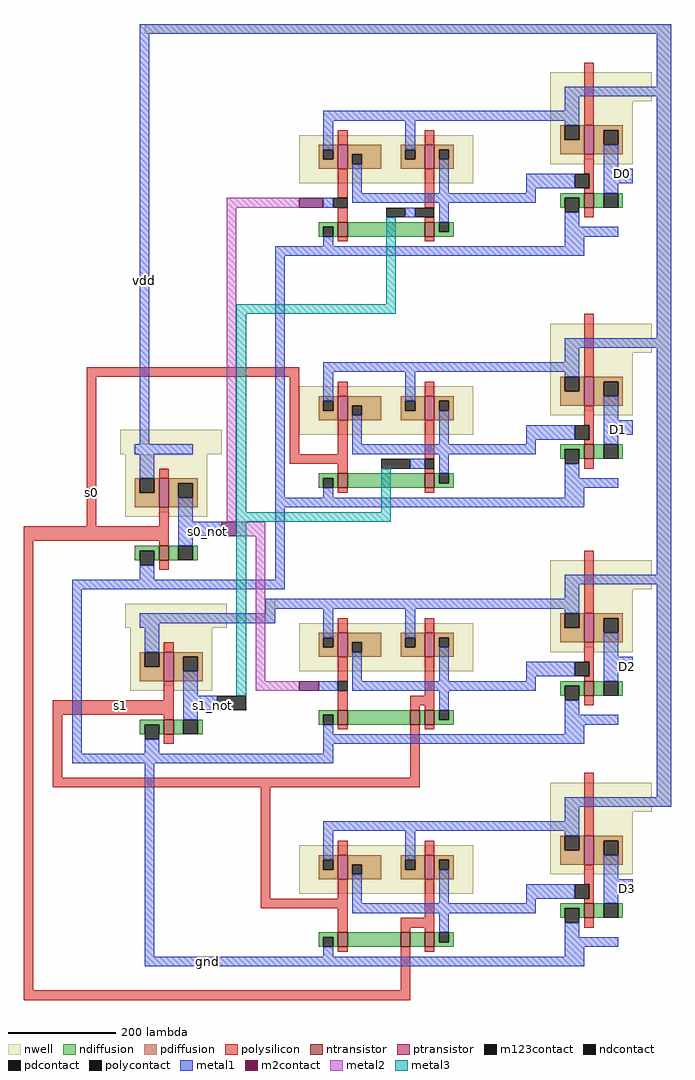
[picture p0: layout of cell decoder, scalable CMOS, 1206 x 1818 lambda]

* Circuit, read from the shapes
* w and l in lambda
.subckt decoder D0 D1 D2 D3 gnd s0 s0_not s1 s1_not vdd
M1 s0_not s0 gnd VSUBS nfet w=27 l=18
M2 s1_not s1 gnd VSUBS nfet w=27 l=18
M3 n1 s1 gnd VSUBS nfet w=27 l=18
M4 n2 s0_not gnd VSUBS nfet w=27 l=18
M5 n3 s0 gnd VSUBS nfet w=27 l=18
M6 n4 s0_not gnd VSUBS nfet w=27 l=18
M7 n5 s0 n1 VSUBS nfet w=27 l=18
M8 n6 s1 n2 VSUBS nfet w=27 l=18
M9 n7 s0 n5 VSUBS nfet w=27 l=18
M10 n8 s1 n6 VSUBS nfet w=27 l=18
M11 n9 s1_not n3 VSUBS nfet w=27 l=18
M12 n10 s1_not n4 VSUBS nfet w=27 l=18
M13 D3 n7 gnd VSUBS nfet w=27 l=18
M14 D2 n8 gnd VSUBS nfet w=27 l=18
M15 D1 n9 gnd VSUBS nfet w=27 l=18
M16 D0 n10 gnd VSUBS nfet w=27 l=18
M17 s0_not s0 vdd n11 pfet w=54 l=18
M18 s1_not s1 vdd n12 pfet w=54 l=18
M19 n7 s1 vdd n13 pfet w=45 l=18
M20 n8 s0_not vdd n14 pfet w=45 l=18
M21 n9 s0 vdd n15 pfet w=45 l=18
M22 n10 s0_not vdd n16 pfet w=45 l=18
M23 n7 s0 vdd n13 pfet w=45 l=18
M24 n8 s1 vdd n14 pfet w=45 l=18
M25 n9 s1_not vdd n15 pfet w=45 l=18
M26 n10 s1_not vdd n16 pfet w=45 l=18
M27 D3 n7 vdd n17 pfet w=54 l=18
M28 D2 n8 vdd n17 pfet w=54 l=18
M29 D1 n9 vdd n17 pfet w=54 l=18
M30 D0 n10 vdd n17 pfet w=54 l=18
.ends

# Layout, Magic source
magic
tech scmos
<< nwell >>
rect 279 1080 1260 1098
rect 1035 981 1224 1008
rect 1233 981 1260 1080
rect 1035 963 1260 981
rect 1035 954 1224 963
rect 567 801 891 891
rect 1035 846 1188 954
rect 1035 837 1098 846
rect 1116 837 1188 846
rect 1035 513 1224 540
rect 1233 513 1260 963
rect 1035 495 1260 513
rect 1035 486 1224 495
rect 234 315 423 342
rect 567 333 891 423
rect 1035 378 1188 486
rect 1035 369 1098 378
rect 1116 369 1188 378
rect 234 297 261 315
rect 369 297 423 315
rect 243 189 396 297
rect 243 180 306 189
rect 324 180 396 189
rect 1035 72 1224 99
rect 1233 72 1260 495
rect 1035 54 1260 72
rect 1035 45 1224 54
rect 243 0 432 18
rect 504 0 522 27
rect 243 -18 522 0
rect 243 -27 432 -18
rect 252 -135 405 -27
rect 567 -108 891 -18
rect 1035 -63 1188 45
rect 1035 -72 1098 -63
rect 1116 -72 1188 -63
rect 252 -144 315 -135
rect 333 -144 405 -135
rect 1035 -342 1224 -315
rect 1233 -342 1260 54
rect 1035 -360 1260 -342
rect 1035 -369 1224 -360
rect 567 -522 891 -432
rect 1035 -477 1188 -369
rect 1035 -486 1098 -477
rect 1116 -486 1188 -477
<< ntransistor >>
rect 1098 756 1116 783
rect 639 702 657 729
rect 801 702 819 729
rect 1098 288 1116 315
rect 639 234 657 261
rect 801 234 819 261
rect 306 99 324 126
rect 1098 -153 1116 -126
rect 315 -225 333 -198
rect 639 -207 657 -180
rect 774 -207 792 -180
rect 801 -207 819 -180
rect 1098 -567 1116 -540
rect 639 -621 657 -594
rect 756 -621 774 -594
rect 801 -621 819 -594
<< ptransistor >>
rect 639 828 657 873
rect 801 828 819 873
rect 1098 855 1116 909
rect 639 360 657 405
rect 801 360 819 405
rect 1098 387 1116 441
rect 306 198 324 252
rect 315 -126 333 -72
rect 639 -81 657 -36
rect 801 -81 819 -36
rect 1098 -54 1116 0
rect 639 -495 657 -450
rect 801 -495 819 -450
rect 1098 -468 1116 -414
<< ndiffusion >>
rect 1053 774 1098 783
rect 1053 756 1062 774
rect 1089 756 1098 774
rect 1116 756 1134 783
rect 1161 756 1170 783
rect 603 720 639 729
rect 603 702 612 720
rect 630 702 639 720
rect 657 702 801 729
rect 819 711 828 729
rect 846 711 855 729
rect 819 702 855 711
rect 1053 306 1098 315
rect 1053 288 1062 306
rect 1089 288 1098 306
rect 1116 288 1134 315
rect 1161 288 1170 315
rect 603 252 639 261
rect 603 234 612 252
rect 630 234 639 252
rect 657 234 801 261
rect 819 243 828 261
rect 846 243 855 261
rect 819 234 855 243
rect 261 117 306 126
rect 261 99 270 117
rect 297 99 306 117
rect 324 99 342 126
rect 369 99 378 126
rect 1053 -135 1098 -126
rect 1053 -153 1062 -135
rect 1089 -153 1098 -135
rect 1116 -153 1134 -126
rect 1161 -153 1170 -126
rect 603 -189 639 -180
rect 270 -207 315 -198
rect 270 -225 279 -207
rect 306 -225 315 -207
rect 333 -225 351 -198
rect 378 -225 387 -198
rect 603 -207 612 -189
rect 630 -207 639 -189
rect 657 -207 774 -180
rect 792 -207 801 -180
rect 819 -198 828 -180
rect 846 -198 855 -180
rect 819 -207 855 -198
rect 1053 -549 1098 -540
rect 1053 -567 1062 -549
rect 1089 -567 1098 -549
rect 1116 -567 1134 -540
rect 1161 -567 1170 -540
rect 603 -603 639 -594
rect 603 -621 612 -603
rect 630 -621 639 -603
rect 657 -621 756 -594
rect 774 -621 801 -594
rect 819 -612 828 -594
rect 846 -612 855 -594
rect 819 -621 855 -612
<< pdiffusion >>
rect 1053 882 1062 909
rect 1089 882 1098 909
rect 603 864 639 873
rect 603 846 612 864
rect 630 846 639 864
rect 603 828 639 846
rect 657 855 720 873
rect 657 837 666 855
rect 684 837 720 855
rect 657 828 720 837
rect 756 864 801 873
rect 756 846 765 864
rect 783 846 801 864
rect 756 828 801 846
rect 819 864 855 873
rect 819 846 828 864
rect 846 846 855 864
rect 1053 855 1098 882
rect 1116 900 1170 909
rect 1116 873 1134 900
rect 1161 873 1170 900
rect 1116 855 1170 873
rect 819 828 855 846
rect 1053 414 1062 441
rect 1089 414 1098 441
rect 603 396 639 405
rect 603 378 612 396
rect 630 378 639 396
rect 603 360 639 378
rect 657 387 720 405
rect 657 369 666 387
rect 684 369 720 387
rect 657 360 720 369
rect 756 396 801 405
rect 756 378 765 396
rect 783 378 801 396
rect 756 360 801 378
rect 819 396 855 405
rect 819 378 828 396
rect 846 378 855 396
rect 1053 387 1098 414
rect 1116 432 1170 441
rect 1116 405 1134 432
rect 1161 405 1170 432
rect 1116 387 1170 405
rect 819 360 855 378
rect 261 225 270 252
rect 297 225 306 252
rect 261 198 306 225
rect 324 243 378 252
rect 324 216 342 243
rect 369 216 378 243
rect 324 198 378 216
rect 1053 -27 1062 0
rect 1089 -27 1098 0
rect 603 -45 639 -36
rect 603 -63 612 -45
rect 630 -63 639 -45
rect 270 -99 279 -72
rect 306 -99 315 -72
rect 270 -126 315 -99
rect 333 -81 387 -72
rect 603 -81 639 -63
rect 657 -54 720 -36
rect 657 -72 666 -54
rect 684 -72 720 -54
rect 657 -81 720 -72
rect 756 -45 801 -36
rect 756 -63 765 -45
rect 783 -63 801 -45
rect 756 -81 801 -63
rect 819 -45 855 -36
rect 819 -63 828 -45
rect 846 -63 855 -45
rect 1053 -54 1098 -27
rect 1116 -9 1170 0
rect 1116 -36 1134 -9
rect 1161 -36 1170 -9
rect 1116 -54 1170 -36
rect 819 -81 855 -63
rect 333 -108 351 -81
rect 378 -108 387 -81
rect 333 -126 387 -108
rect 1053 -441 1062 -414
rect 1089 -441 1098 -414
rect 603 -459 639 -450
rect 603 -477 612 -459
rect 630 -477 639 -459
rect 603 -495 639 -477
rect 657 -468 720 -450
rect 657 -486 666 -468
rect 684 -486 720 -468
rect 657 -495 720 -486
rect 756 -459 801 -450
rect 756 -477 765 -459
rect 783 -477 801 -459
rect 756 -495 801 -477
rect 819 -459 855 -450
rect 819 -477 828 -459
rect 846 -477 855 -459
rect 1053 -468 1098 -441
rect 1116 -423 1170 -414
rect 1116 -450 1134 -423
rect 1161 -450 1170 -423
rect 1116 -468 1170 -450
rect 819 -495 855 -477
<< ndcontact >>
rect 1062 747 1089 774
rect 1134 756 1161 783
rect 612 702 630 720
rect 828 711 846 729
rect 1062 279 1089 306
rect 1134 288 1161 315
rect 612 234 630 252
rect 828 243 846 261
rect 270 90 297 117
rect 342 99 369 126
rect 1062 -162 1089 -135
rect 1134 -153 1161 -126
rect 279 -234 306 -207
rect 351 -225 378 -198
rect 612 -207 630 -189
rect 828 -198 846 -180
rect 1062 -576 1089 -549
rect 1134 -567 1161 -540
rect 612 -621 630 -603
rect 828 -612 846 -594
<< pdcontact >>
rect 1062 882 1089 909
rect 612 846 630 864
rect 666 837 684 855
rect 765 846 783 864
rect 828 846 846 864
rect 1134 873 1161 900
rect 1062 414 1089 441
rect 612 378 630 396
rect 666 369 684 387
rect 765 378 783 396
rect 828 378 846 396
rect 1134 405 1161 432
rect 270 225 297 252
rect 342 216 369 243
rect 1062 -27 1089 0
rect 612 -63 630 -45
rect 279 -99 306 -72
rect 666 -72 684 -54
rect 765 -63 783 -45
rect 828 -63 846 -45
rect 1134 -36 1161 -9
rect 351 -108 378 -81
rect 1062 -441 1089 -414
rect 612 -477 630 -459
rect 666 -486 684 -468
rect 765 -477 783 -459
rect 828 -477 846 -459
rect 1134 -450 1161 -423
<< polysilicon >>
rect 1098 909 1116 1026
rect 639 873 657 900
rect 801 873 819 900
rect 639 774 657 828
rect 801 756 819 828
rect 1098 819 1116 855
rect 1107 792 1116 819
rect 1098 783 1116 792
rect 639 729 657 756
rect 1098 738 1116 756
rect 801 729 819 738
rect 639 693 657 702
rect 801 693 819 702
rect 171 441 567 459
rect 1098 441 1116 558
rect 171 162 189 441
rect 549 297 567 441
rect 639 405 657 432
rect 801 405 819 432
rect 639 297 657 360
rect 549 279 657 297
rect 306 252 324 270
rect 639 261 657 279
rect 801 288 819 360
rect 1098 351 1116 387
rect 1107 324 1116 351
rect 1098 315 1116 324
rect 1098 270 1116 288
rect 801 261 819 270
rect 639 225 657 234
rect 801 225 819 234
rect 306 162 324 198
rect 54 135 324 162
rect 54 -702 72 135
rect 306 126 324 135
rect 306 81 324 99
rect 1098 0 1116 117
rect 639 -36 657 -9
rect 801 -36 819 -9
rect 315 -72 333 -54
rect 639 -126 657 -81
rect 315 -162 333 -126
rect 108 -189 333 -162
rect 639 -180 657 -144
rect 801 -153 819 -81
rect 1098 -90 1116 -54
rect 1107 -117 1116 -90
rect 1098 -126 1116 -117
rect 774 -171 819 -153
rect 1098 -171 1116 -153
rect 774 -180 792 -171
rect 801 -180 819 -171
rect 108 -306 126 -189
rect 315 -198 333 -189
rect 639 -216 657 -207
rect 315 -243 333 -225
rect 774 -306 792 -207
rect 801 -216 819 -207
rect 108 -324 792 -306
rect 495 -531 513 -324
rect 1098 -414 1116 -297
rect 639 -450 657 -423
rect 801 -450 819 -423
rect 639 -531 657 -495
rect 495 -549 657 -531
rect 639 -594 657 -549
rect 801 -567 819 -495
rect 1098 -504 1116 -468
rect 1107 -531 1116 -504
rect 1098 -540 1116 -531
rect 756 -585 819 -567
rect 1098 -585 1116 -567
rect 756 -594 774 -585
rect 801 -594 819 -585
rect 639 -630 657 -621
rect 756 -702 774 -621
rect 801 -630 819 -621
rect 54 -720 774 -702
<< polycontact >>
rect 630 756 657 774
rect 1080 792 1107 819
rect 783 738 819 756
rect 1080 324 1107 351
rect 801 270 819 288
rect 639 -144 657 -126
rect 1080 -117 1107 -90
rect 1080 -531 1107 -504
<< metal1 >>
rect 270 1080 1260 1098
rect 270 315 288 1080
rect 1233 981 1260 1080
rect 1062 963 1260 981
rect 1062 936 1089 963
rect 612 918 1089 936
rect 612 864 630 918
rect 765 864 783 918
rect 1062 909 1089 918
rect 666 783 684 837
rect 828 783 846 846
rect 1134 828 1161 873
rect 990 792 1080 819
rect 1134 801 1188 828
rect 990 783 1008 792
rect 612 756 630 774
rect 666 765 1008 783
rect 1134 783 1161 801
rect 765 738 783 756
rect 828 729 846 765
rect 1062 720 1089 747
rect 612 684 630 702
rect 1062 702 1161 720
rect 1062 684 1098 702
rect 522 666 1098 684
rect 261 297 369 315
rect 270 252 297 297
rect 342 171 369 216
rect 522 216 540 666
rect 1233 513 1260 963
rect 1062 495 1260 513
rect 1062 468 1089 495
rect 612 450 1089 468
rect 612 396 630 450
rect 765 396 783 450
rect 1062 441 1089 450
rect 666 315 684 369
rect 828 315 846 378
rect 1134 360 1161 405
rect 990 324 1080 351
rect 1134 333 1188 360
rect 990 315 1008 324
rect 666 297 1008 315
rect 1134 315 1161 333
rect 774 270 801 288
rect 828 261 846 297
rect 1062 252 1089 279
rect 612 216 630 234
rect 1062 234 1161 252
rect 1062 216 1098 234
rect 522 198 1098 216
rect 342 144 423 171
rect 342 126 369 144
rect 270 63 297 90
rect 522 63 540 198
rect 1233 72 1260 495
rect 144 45 540 63
rect 1062 54 1260 72
rect 144 -261 162 45
rect 1062 27 1089 54
rect 504 9 1089 27
rect 504 0 522 9
rect 270 -18 522 0
rect 270 -27 306 -18
rect 279 -72 306 -27
rect 612 -45 630 9
rect 765 -45 783 9
rect 1062 0 1089 9
rect 351 -153 378 -108
rect 666 -126 684 -72
rect 828 -126 846 -63
rect 1134 -81 1161 -36
rect 990 -117 1080 -90
rect 1134 -108 1188 -81
rect 990 -126 1008 -117
rect 603 -144 639 -126
rect 666 -144 1008 -126
rect 1134 -126 1161 -108
rect 351 -180 414 -153
rect 828 -180 846 -144
rect 351 -198 378 -180
rect 1062 -189 1089 -162
rect 612 -225 630 -207
rect 1062 -207 1161 -189
rect 1062 -225 1098 -207
rect 279 -261 306 -234
rect 612 -243 1098 -225
rect 612 -261 630 -243
rect 144 -279 630 -261
rect 279 -639 297 -279
rect 1233 -342 1260 54
rect 1062 -360 1260 -342
rect 1062 -387 1089 -360
rect 612 -405 1089 -387
rect 612 -459 630 -405
rect 765 -459 783 -405
rect 1062 -414 1089 -405
rect 666 -540 684 -486
rect 828 -540 846 -477
rect 1134 -495 1161 -450
rect 990 -531 1080 -504
rect 1134 -522 1188 -495
rect 990 -540 1008 -531
rect 666 -558 1008 -540
rect 1134 -540 1161 -522
rect 828 -594 846 -558
rect 1062 -603 1089 -576
rect 612 -639 630 -621
rect 1062 -621 1161 -603
rect 1062 -639 1098 -621
rect 279 -657 1098 -639
<< m2contact >>
rect 567 756 612 774
rect 423 144 450 171
rect 567 -144 603 -126
<< metal2 >>
rect 432 756 567 774
rect 432 171 450 756
rect 450 144 504 171
rect 486 -126 504 144
rect 486 -144 567 -126
<< m123contact >>
rect 729 738 765 756
rect 720 270 774 288
rect 414 -180 468 -153
<< metal3 >>
rect 729 576 747 738
rect 450 558 747 576
rect 450 189 468 558
rect 720 189 738 270
rect 450 171 738 189
rect 450 -153 468 171
<< labels >>
rlabel polysilicon 180 225 180 225 1 s0
rlabel polysilicon 234 -171 234 -171 1 s1
rlabel metal1 279 621 279 621 1 vdd
rlabel metal1 396 -648 396 -648 1 gnd
rlabel metal1 1179 -513 1179 -513 1 D3
rlabel metal1 1179 -99 1179 -99 1 D2
rlabel metal1 1161 342 1161 342 1 D1
rlabel metal1 1170 819 1170 819 1 D0
rlabel metal1 396 153 396 153 1 s0_not
rlabel metal1 405 -171 405 -171 1 s1_not
<< end >>
